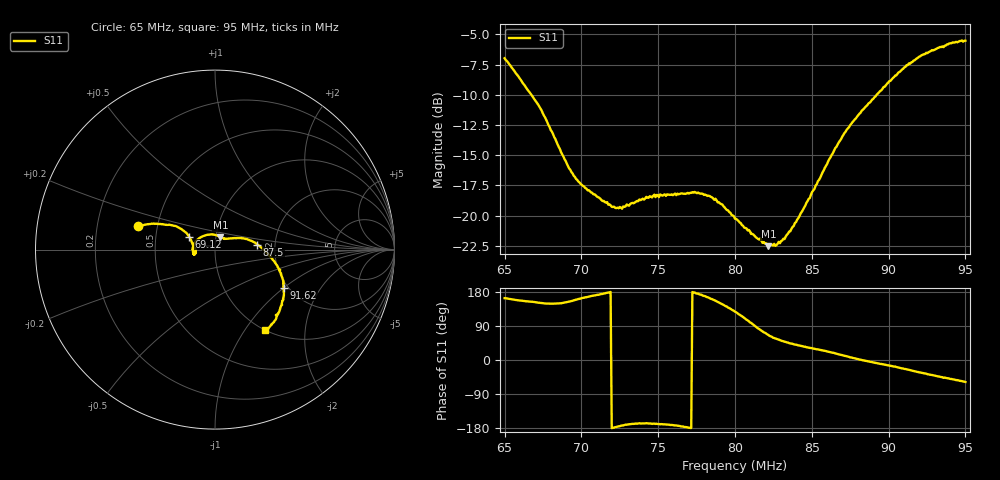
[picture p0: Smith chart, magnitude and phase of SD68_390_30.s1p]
! NanoVNA-App
! Date: 2025-08-02 15:56:01
! Start: 65MHz Stop: 95MHz Points: 401
! S-Parameter data: F S11
# Hz S RI R 50
!  Frequency  S11_Real  S11_Imag
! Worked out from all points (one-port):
!   401 points, 65 MHz to 95 MHz, reference 50 ohm
!   lowest |S11| = -22.5 dB at 82.17 MHz (marker M1), VSWR 1.16, Z = 52.6 + j7.22 ohm
!   |S11| at or under -10 dB: 66.74 MHz to 89.22 MHz (22.48 MHz wide, 28.8 % of centre)
!   S11 on the Smith chart (normalised r, x): 65 MHz: 0.39, +0.13; 69.12 MHz: 0.74, +0.11; 87.5 MHz: 1.61, +0.09; 91.62 MHz: 1.90, -1.00; 95 MHz: 1.00, -1.25
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6.5e7  -0.429 0.1292
6.59e7  -0.3481 0.1439
6.725e7  -0.2479 0.1371
6.875e7  -0.1556 0.0886
6.9125e7  -0.1435 0.0719
6.965e7  -0.1323 0.051
7.025e7  -0.1259 0.0327
7.19e7  -0.1103 0.000979
7.25e7  -0.108 -0.0101
7.46e7  -0.1165 -0.0234
7.625e7  -0.1224 -0.0144
7.745e7  -0.1243 0.00833
7.835e7  -0.1154 0.0348
7.91e7  -0.0953 0.0579
8e7  -0.0591 0.0769
8.105e7  -0.0115 0.0831
8.2175e7  0.0303 0.0683
8.2775e7  0.0441 0.0624
8.375e7  0.0661 0.0606
8.6e7  0.1512 0.0626
8.75e7  0.2351 0.0277
8.9675e7  0.3335 -0.0691
9.125e7  0.3796 -0.1797
9.1625e7  0.3833 -0.2118
9.23e7  0.3819 -0.266
9.335e7  0.3565 -0.3487
9.41e7  0.3317 -0.397
9.5e7  0.2802 -0.4494
